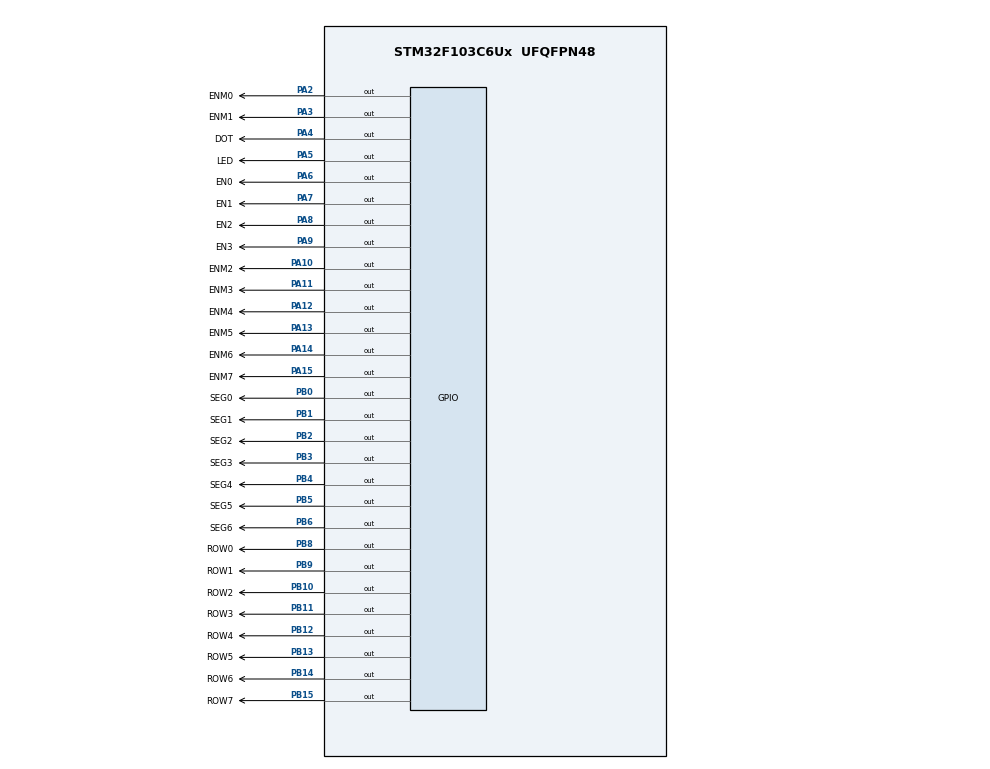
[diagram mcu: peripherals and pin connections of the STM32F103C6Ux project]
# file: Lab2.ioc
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Mcu.Family=STM32F1
Mcu.Name=STM32F103C6Ux
Mcu.Package=UFQFPN48
NVIC.PriorityGroup=NVIC_PRIORITYGROUP_4
NVIC.TIM2_IRQn=true\:0\:0\:false\:false\:true\:true\:true
PA10.GPIO_Label=ENM2
PA10.Signal=GPIO_Output
PA11.GPIO_Label=ENM3
PA11.Signal=GPIO_Output
PA12.GPIO_Label=ENM4
PA12.Signal=GPIO_Output
PA13.GPIO_Label=ENM5
PA13.Signal=GPIO_Output
PA14.GPIO_Label=ENM6
PA14.Signal=GPIO_Output
PA15.GPIO_Label=ENM7
PA15.Signal=GPIO_Output
PA2.GPIO_Label=ENM0
PA2.Signal=GPIO_Output
PA3.GPIO_Label=ENM1
PA3.Signal=GPIO_Output
PA4.GPIO_Label=DOT
PA4.Signal=GPIO_Output
PA5.GPIO_Label=LED
PA5.Signal=GPIO_Output
PA6.GPIO_Label=EN0
PA6.PinState=GPIO_PIN_RESET
PA6.Signal=GPIO_Output
PA7.GPIO_Label=EN1
PA7.PinState=GPIO_PIN_RESET
PA7.Signal=GPIO_Output
PA8.GPIO_Label=EN2
PA8.Signal=GPIO_Output
PA9.GPIO_Label=EN3
PA9.Signal=GPIO_Output
PB0.GPIO_Label=SEG0
PB0.Signal=GPIO_Output
PB1.GPIO_Label=SEG1
PB1.Signal=GPIO_Output
PB10.GPIO_Label=ROW2
PB10.Signal=GPIO_Output
PB11.GPIO_Label=ROW3
PB11.Signal=GPIO_Output
PB12.GPIO_Label=ROW4
PB12.Signal=GPIO_Output
PB13.GPIO_Label=ROW5
PB13.Signal=GPIO_Output
PB14.GPIO_Label=ROW6
PB14.Signal=GPIO_Output
PB15.GPIO_Label=ROW7
PB15.Signal=GPIO_Output
PB2.GPIO_Label=SEG2
PB2.Signal=GPIO_Output
PB3.GPIO_Label=SEG3
PB3.Signal=GPIO_Output
PB4.GPIO_Label=SEG4
PB4.Signal=GPIO_Output
PB5.GPIO_Label=SEG5
PB5.Signal=GPIO_Output
PB6.GPIO_Label=SEG6
PB6.Signal=GPIO_Output
PB8.GPIO_Label=ROW0
PB8.Signal=GPIO_Output
PB9.GPIO_Label=ROW1
PB9.Signal=GPIO_Output
ProjectManager.HeapSize=0x200
ProjectManager.StackSize=0x400
ProjectManager.TargetToolchain=STM32CubeIDE
RCC.APB1Freq_Value=8000000
RCC.APB2Freq_Value=8000000
TIM2.Period=9
TIM2.Prescaler=7999
VP_SYS_VS_ND.Mode=No_Debug
VP_TIM2_VS_ClockSourceINT.Mode=Internal
board=custom

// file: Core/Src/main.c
/* USER CODE BEGIN Header */
/**
  ******************************************************************************
  * @file           : main.c
  * @brief          : Main program body
  ******************************************************************************
  * @attention
  *
  * <h2><center>&copy; Copyright (c) 2023 STMicroelectronics.
  * All rights reserved.</center></h2>
  *
  * This software component is licensed by ST under BSD 3-Clause license,
  * the "License"; You may not use this file except in compliance with the
  * License. You may obtain a copy of the License at:
  *                        opensource.org/licenses/BSD-3-Clause
  *
  ******************************************************************************
  */
/* USER CODE END Header */
#include "main.h"

/* USER CODE BEGIN Includes */
#include "software_timer.h"
/* USER CODE END Includes */

TIM_HandleTypeDef htim2;

void SystemClock_Config(void);
static void MX_TIM2_Init(void);
static void MX_GPIO_Init(void);
/* USER CODE BEGIN PFP */
void display7SEG(int num);
void update7SEG(int index);
void updateClockBuffer();

void updateLEDMatrix(int* index,uint8_t* matrix_flag);
void display_row(uint8_t data);
void reset_all_row();

const int MAX_LED = 4;
int index_led = 0;
int led_buffer[4] = {1, 2, 5, 9};
/* USER CODE END PFP */

/* USER CODE BEGIN 0 */
void display7SEG(int num) {
	int array[10][7] = {
		{0, 0, 0, 0, 0, 0, 1}, 	//0
		{1, 0, 0, 1, 1, 1, 1},  //1
		{0, 0, 1, 0, 0, 1, 0},  //2
		{0, 0, 0, 0, 1, 1, 0},  //3
		{1, 0, 0, 1, 1, 0, 0},	//4
		{0, 1, 0, 0, 1, 0, 0},  //5
		{0, 1, 0, 0, 0, 0, 0}, 	//6
		{0, 0, 0, 1, 1, 1, 1},	//7
		{0, 0, 0, 0, 0, 0, 0}, 	//8
		{0, 0, 0, 0, 1, 0, 0}   //9
	};
	HAL_GPIO_WritePin(SEG0_GPIO_Port, SEG0_Pin, array[num][0]);
	HAL_GPIO_WritePin(SEG1_GPIO_Port, SEG1_Pin, array[num][1]);
	HAL_GPIO_WritePin(SEG2_GPIO_Port, SEG2_Pin, array[num][2]);
	HAL_GPIO_WritePin(SEG3_GPIO_Port, SEG3_Pin, array[num][3]);
	HAL_GPIO_WritePin(SEG4_GPIO_Port, SEG4_Pin, array[num][4]);
	HAL_GPIO_WritePin(SEG5_GPIO_Port, SEG5_Pin, array[num][5]);
	HAL_GPIO_WritePin(SEG6_GPIO_Port, SEG6_Pin, array[num][6]);

}
//// Exercise 2
//void update_display(int* display_flag){
//	switch(*display_flag){
//		case 0:{
//			(*display_flag)++;
//			HAL_GPIO_WritePin(GPIOA, EN0_Pin, GPIO_PIN_RESET);
//			HAL_GPIO_WritePin(GPIOA, EN1_Pin, GPIO_PIN_SET);
//			HAL_GPIO_WritePin(GPIOA, EN2_Pin, GPIO_PIN_SET);
//			HAL_GPIO_WritePin(GPIOA, EN3_Pin, GPIO_PIN_SET);
//			display7SEG(1);
//			break;
//		}
//		case 1:{
//			(*display_flag)++;
//			HAL_GPIO_WritePin(GPIOA, EN0_Pin, GPIO_PIN_SET);
//			HAL_GPIO_WritePin(GPIOA, EN1_Pin, GPIO_PIN_RESET);
//			HAL_GPIO_WritePin(GPIOA, EN2_Pin, GPIO_PIN_SET);
//			HAL_GPIO_WritePin(GPIOA, EN3_Pin, GPIO_PIN_SET);
//			display7SEG(2);
//			break;
//		}
//		case 2:{
//			(*display_flag)++;
//			HAL_GPIO_WritePin(GPIOA, EN0_Pin, GPIO_PIN_SET);
//			HAL_GPIO_WritePin(GPIOA, EN1_Pin, GPIO_PIN_SET);
//			HAL_GPIO_WritePin(GPIOA, EN2_Pin, GPIO_PIN_RESET);
//			HAL_GPIO_WritePin(GPIOA, EN3_Pin, GPIO_PIN_SET);
//			display7SEG(3);
//			break;
//		}
//		case 3:{
//			(*display_flag) = 0;
//			HAL_GPIO_WritePin(GPIOA, EN0_Pin, GPIO_PIN_SET);
//			HAL_GPIO_WritePin(GPIOA, EN1_Pin, GPIO_PIN_SET);
//			HAL_GPIO_WritePin(GPIOA, EN2_Pin, GPIO_PIN_SET);
//			HAL_GPIO_WritePin(GPIOA, EN3_Pin, GPIO_PIN_RESET);
//			display7SEG(0);
//			break;
//		}
//		default:{
//			break;
//		}
//	}
//}
void update7SEG(int index){
    switch (index){
        case 0:
            //Display the first 7SEG with led_buffer[0]
        	HAL_GPIO_WritePin(GPIOA, EN0_Pin, GPIO_PIN_RESET);
        	HAL_GPIO_WritePin(GPIOA, EN1_Pin, GPIO_PIN_SET);
        	HAL_GPIO_WritePin(GPIOA, EN2_Pin, GPIO_PIN_SET);
        	HAL_GPIO_WritePin(GPIOA, EN3_Pin, GPIO_PIN_SET);
        	display7SEG(led_buffer[index]);

            break;
        case 1:
            //Display the second 7SEG with led_buffer[1]
        	HAL_GPIO_WritePin(GPIOA, EN0_Pin, GPIO_PIN_SET);
        	HAL_GPIO_WritePin(GPIOA, EN1_Pin, GPIO_PIN_RESET);
        	HAL_GPIO_WritePin(GPIOA, EN2_Pin, GPIO_PIN_SET);
        	HAL_GPIO_WritePin(GPIOA, EN3_Pin, GPIO_PIN_SET);
        	display7SEG(led_buffer[index]);

            break;
        case 2:
            //Display the third 7SEG with led_buffer[2]
        	HAL_GPIO_WritePin(GPIOA, EN0_Pin, GPIO_PIN_SET);
        	HAL_GPIO_WritePin(GPIOA, EN1_Pin, GPIO_PIN_SET);
          	HAL_GPIO_WritePin(GPIOA, EN2_Pin, GPIO_PIN_RESET);
         	HAL_GPIO_WritePin(GPIOA, EN3_Pin, GPIO_PIN_SET);
  	      	display7SEG(led_buffer[index]);

            break;
        case 3:
            //Display the forth 7SEG with led_buffer[3]
        	HAL_GPIO_WritePin(GPIOA, EN0_Pin, GPIO_PIN_SET);
        	HAL_GPIO_WritePin(GPIOA, EN1_Pin, GPIO_PIN_SET);
        	HAL_GPIO_WritePin(GPIOA, EN2_Pin, GPIO_PIN_SET);
        	HAL_GPIO_WritePin(GPIOA, EN3_Pin, GPIO_PIN_RESET);
        	display7SEG(led_buffer[index]);

            break;
        default:
            break;
    }
}
void updateClockBuffer(){
	led_buffer[3]++;
	if(led_buffer[3]>=10){
		led_buffer[3] = 0;
		led_buffer[2]++;
	}
	if(led_buffer[2]>=6){
		led_buffer[1]++;
		led_buffer[2] =0;
	}
	if(led_buffer[1]>=10){
		led_buffer[0]++;
		led_buffer[1] =0;
	}
	if(led_buffer[0] == 2 && led_buffer[1] == 4){
		led_buffer[0] = 0;
		led_buffer[1] = 0;
	}
}

//Exercise 9
uint16_t col_trigger[] = {ENM0_Pin, ENM1_Pin, ENM2_Pin, ENM3_Pin, ENM4_Pin, ENM5_Pin, ENM6_Pin, ENM7_Pin};
uint16_t row_trigger[] = {ROW0_Pin, ROW1_Pin, ROW2_Pin, ROW3_Pin, ROW4_Pin, ROW5_Pin, ROW6_Pin, ROW7_Pin};
const int MAX_LED_MATRIX = 8;
int index_led_matrix = 0;
uint8_t matrix_buffer[8] = {0x00,0x18,0x24,0x24,0x3C,0x24,0x24,0x24};

void display_row(uint8_t data){
	for(int i = 0; i<MAX_LED_MATRIX; i++){
		HAL_GPIO_WritePin(GPIOA, col_trigger[i], !(data&0x80));
		data = data<<1;
	}
}

void reset_all_row(){
	for(int i = 0; i<MAX_LED_MATRIX; i++){
		HAL_GPIO_WritePin(GPIOB, row_trigger[i], SET);
	}
}

void updateLEDMatrix(int* matrix_flag,uint8_t* matrix_buffer){
    switch (*matrix_flag){
        case 0:{
        	(*matrix_flag)++;
        	reset_all_row();
        	HAL_GPIO_WritePin(GPIOB, ROW0_Pin, 0);
        	display_row(matrix_buffer[0]);
        	break;
        }
        case 1:{
        	(*matrix_flag)++;
        	reset_all_row();
        	HAL_GPIO_WritePin(GPIOB, ROW1_Pin, 0);
        	display_row(matrix_buffer[1]);
        	break;
        }
        case 2:{
        	(*matrix_flag)++;
        	reset_all_row();
        	HAL_GPIO_WritePin(GPIOB, ROW2_Pin, 0);
        	display_row(matrix_buffer[2]);
        	break;
        }
        case 3:{
        	(*matrix_flag)++;
        	reset_all_row();
        	HAL_GPIO_WritePin(GPIOB, ROW3_Pin, 0);
        	display_row(matrix_buffer[3]);
        	break;
        }
        case 4:{
        	(*matrix_flag)++;
        	reset_all_row();
        	HAL_GPIO_WritePin(GPIOB, ROW4_Pin, 0);
        	display_row(matrix_buffer[4]);
        	break;
        }
        case 5:{
        	(*matrix_flag)++;
        	reset_all_row();
        	HAL_GPIO_WritePin(GPIOB, ROW5_Pin, 0);
        	display_row(matrix_buffer[5]);
        	break;
        }
        case 6:{
        	(*matrix_flag)++;
        	reset_all_row();
        	HAL_GPIO_WritePin(GPIOB, ROW6_Pin, 0);
        	display_row(matrix_buffer[6]);
        	break;
        }
        case 7:{
        	(*matrix_flag) = 0;
        	reset_all_row();
        	HAL_GPIO_WritePin(GPIOB, ROW7_Pin, 0);
        	display_row(matrix_buffer[7]);
        	break;
        }
        default:
            break;
    }
}

//Exercise 10
uint8_t stored_buffer[8] = {0x00,0x18,0x24,0x24,0x3C,0x24,0x24,0x24};
void update_LED_buffer(uint8_t data[MAX_LED_MATRIX]){
	for(int i = 0; i<MAX_LED_MATRIX; i++){
		data[i] = data[i]<<1;
	}
}

void reset_buffer(){
	for(int i = 0; i<MAX_LED_MATRIX; i++){
		matrix_buffer[i] = stored_buffer[i];
	}
}
/* USER CODE END 0 */

int main(void)
{

  /* MCU Configuration--------------------------------------------------------*/

  /* Reset of all peripherals, Initializes the Flash interface and the Systick. */
  HAL_Init();

  /* Configure the system clock */
  SystemClock_Config();

  /* Initialize all configured peripherals */
  MX_TIM2_Init();
  MX_GPIO_Init();
  /* USER CODE BEGIN 2 */

  HAL_TIM_Base_Start_IT (& htim2 ) ;
  setTimer1(50);	// 7-Segment LED
  setTimer2(100);	// 2 LED_RED
  setTimer3(100);
  setTimer4(500);
//  int display_flag =0;

  int matrix_flag = 0;		//For exercise 9
  int shift_cycle_flag =0;	//For exercise 10
  int hour = 12, minute = 59, second = 50;		// For exercise 5
  /* USER CODE END 2 */

  /* Infinite loop */
  while (1)
  {

    /* USER CODE BEGIN 3 */
	  //Excercise 2
//	  if(timer1_flag == 1){
//		  setTimer1(50);
//		  update_display(&display_flag);
//	  }
//	  if(timer2_flag == 1){
//		  setTimer2(100);
//		  HAL_GPIO_TogglePin(GPIOA, DOT_Pin);
//		  HAL_GPIO_TogglePin(GPIOA, LED_Pin);
//	  }
//  }
	  //Exercise 5-7-8
	  if(timer1_flag == 1){
	  		setTimer1(25);
	  		update7SEG(index_led++);
	  		if(index_led > 3)	index_led = 0;

	  		//Exercise 10
	  		updateLEDMatrix(&matrix_flag, matrix_buffer);
	  }
	 if(timer2_flag == 1){
	 	 setTimer2(100);
	 	 HAL_GPIO_TogglePin(GPIOA, DOT_Pin);
	 	 HAL_GPIO_TogglePin(GPIOA, LED_Pin);
	 }
	 if(timer3_flag == 1){
		 setTimer3(100);
		 second++;

		 // This function call for Exercise 9
//		 updateLEDMatrix(&matrix_flag);
	 }
	 if(second >=60){
		 second = 0;
		 minute++;
	 }
	 if(minute >=60){
		 minute = 0;
		 hour++;
	 }
	 if(hour >=24){
		 hour = 0;
	 }
	 int temp_hour = led_buffer[0]*10 + led_buffer[1];
	 int temp_minute  = led_buffer[2]*10 +led_buffer[3];
	 if(temp_hour != hour || temp_minute != minute){
		 updateClockBuffer();
	 }

	 if(timer4_flag == 1){
		 setTimer4(500);
		 shift_cycle_flag++;
		 update_LED_buffer(matrix_buffer);

		 if(shift_cycle_flag>=8){
			 shift_cycle_flag = 0;
			 reset_buffer();
		 }
	 }
  /* USER CODE END 3 */
}
}
void SystemClock_Config(void)
{
  RCC_OscInitTypeDef RCC_OscInitStruct = {0};
  RCC_ClkInitTypeDef RCC_ClkInitStruct = {0};

  /** Initializes the RCC Oscillators according to the specified parameters
  * in the RCC_OscInitTypeDef structure.
  */
  RCC_OscInitStruct.OscillatorType = RCC_OSCILLATORTYPE_HSI;
  RCC_OscInitStruct.HSIState = RCC_HSI_ON;
  RCC_OscInitStruct.HSICalibrationValue = RCC_HSICALIBRATION_DEFAULT;
  RCC_OscInitStruct.PLL.PLLState = RCC_PLL_NONE;
  if (HAL_RCC_OscConfig(&RCC_OscInitStruct) != HAL_OK)
  {
    Error_Handler();
  }
  /** Initializes the CPU, AHB and APB buses clocks
  */
  RCC_ClkInitStruct.ClockType = RCC_CLOCKTYPE_HCLK|RCC_CLOCKTYPE_SYSCLK
                              |RCC_CLOCKTYPE_PCLK1|RCC_CLOCKTYPE_PCLK2;
  RCC_ClkInitStruct.SYSCLKSource = RCC_SYSCLKSOURCE_HSI;
  RCC_ClkInitStruct.AHBCLKDivider = RCC_SYSCLK_DIV1;
  RCC_ClkInitStruct.APB1CLKDivider = RCC_HCLK_DIV1;
  RCC_ClkInitStruct.APB2CLKDivider = RCC_HCLK_DIV1;

  if (HAL_RCC_ClockConfig(&RCC_ClkInitStruct, FLASH_LATENCY_0) != HAL_OK)
  {
    Error_Handler();
  }
}

static void MX_TIM2_Init(void)
{

  TIM_ClockConfigTypeDef sClockSourceConfig = {0};
  TIM_MasterConfigTypeDef sMasterConfig = {0};

  htim2.Instance = TIM2;
  htim2.Init.Prescaler = 7999;
  htim2.Init.CounterMode = TIM_COUNTERMODE_UP;
  htim2.Init.Period = 9;
  htim2.Init.ClockDivision = TIM_CLOCKDIVISION_DIV1;
  htim2.Init.AutoReloadPreload = TIM_AUTORELOAD_PRELOAD_DISABLE;
  if (HAL_TIM_Base_Init(&htim2) != HAL_OK)
  {
    Error_Handler();
  }
  sClockSourceConfig.ClockSource = TIM_CLOCKSOURCE_INTERNAL;
  if (HAL_TIM_ConfigClockSource(&htim2, &sClockSourceConfig) != HAL_OK)
  {
    Error_Handler();
  }
  sMasterConfig.MasterOutputTrigger = TIM_TRGO_RESET;
  sMasterConfig.MasterSlaveMode = TIM_MASTERSLAVEMODE_DISABLE;
  if (HAL_TIMEx_MasterConfigSynchronization(&htim2, &sMasterConfig) != HAL_OK)
  {
    Error_Handler();
  }

}

static void MX_GPIO_Init(void)
{
  GPIO_InitTypeDef GPIO_InitStruct = {0};

  /* GPIO Ports Clock Enable */
  __HAL_RCC_GPIOA_CLK_ENABLE();
  __HAL_RCC_GPIOB_CLK_ENABLE();

  /*Configure GPIO pin Output Level */
  HAL_GPIO_WritePin(GPIOA, ENM0_Pin|ENM1_Pin|DOT_Pin|LED_Pin
                          |EN0_Pin|EN1_Pin|EN2_Pin|EN3_Pin
                          |ENM2_Pin|ENM3_Pin|ENM4_Pin|ENM5_Pin
                          |ENM6_Pin|ENM7_Pin, GPIO_PIN_RESET);

  /*Configure GPIO pin Output Level */
  HAL_GPIO_WritePin(GPIOB, SEG0_Pin|SEG1_Pin|SEG2_Pin|ROW2_Pin
                          |ROW3_Pin|ROW4_Pin|ROW5_Pin|ROW6_Pin
                          |ROW7_Pin|SEG3_Pin|SEG4_Pin|SEG5_Pin
                          |SEG6_Pin|ROW0_Pin|ROW1_Pin, GPIO_PIN_RESET);

  /*Configure GPIO pins : ENM0_Pin ENM1_Pin DOT_Pin LED_Pin
                           EN0_Pin EN1_Pin EN2_Pin EN3_Pin
                           ENM2_Pin ENM3_Pin ENM4_Pin ENM5_Pin
                           ENM6_Pin ENM7_Pin */
  GPIO_InitStruct.Pin = ENM0_Pin|ENM1_Pin|DOT_Pin|LED_Pin
                          |EN0_Pin|EN1_Pin|EN2_Pin|EN3_Pin
                          |ENM2_Pin|ENM3_Pin|ENM4_Pin|ENM5_Pin
                          |ENM6_Pin|ENM7_Pin;
  GPIO_InitStruct.Mode = GPIO_MODE_OUTPUT_PP;
  GPIO_InitStruct.Pull = GPIO_NOPULL;
  GPIO_InitStruct.Speed = GPIO_SPEED_FREQ_LOW;
  HAL_GPIO_Init(GPIOA, &GPIO_InitStruct);

  /*Configure GPIO pins : SEG0_Pin SEG1_Pin SEG2_Pin ROW2_Pin
                           ROW3_Pin ROW4_Pin ROW5_Pin ROW6_Pin
                           ROW7_Pin SEG3_Pin SEG4_Pin SEG5_Pin
                           SEG6_Pin ROW0_Pin ROW1_Pin */
  GPIO_InitStruct.Pin = SEG0_Pin|SEG1_Pin|SEG2_Pin|ROW2_Pin
                          |ROW3_Pin|ROW4_Pin|ROW5_Pin|ROW6_Pin
                          |ROW7_Pin|SEG3_Pin|SEG4_Pin|SEG5_Pin
                          |SEG6_Pin|ROW0_Pin|ROW1_Pin;
  GPIO_InitStruct.Mode = GPIO_MODE_OUTPUT_PP;
  GPIO_InitStruct.Pull = GPIO_NOPULL;
  GPIO_InitStruct.Speed = GPIO_SPEED_FREQ_LOW;
  HAL_GPIO_Init(GPIOB, &GPIO_InitStruct);

}

/* USER CODE BEGIN 4 */

void HAL_TIM_PeriodElapsedCallback(TIM_HandleTypeDef *htim){
	timerRun();
}
/* USER CODE END 4 */

void Error_Handler(void)
{
  __disable_irq();
  while (1)
  {
  }
}

/************************ (C) COPYRIGHT STMicroelectronics *****END OF FILE****/
